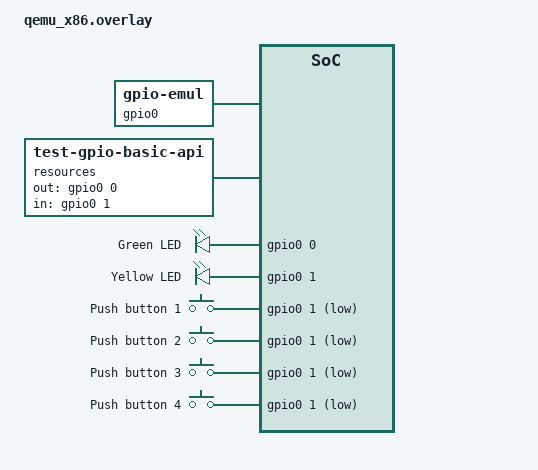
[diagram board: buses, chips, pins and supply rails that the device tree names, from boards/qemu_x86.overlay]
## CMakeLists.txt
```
cmake_minimum_required(VERSION 3.20.0)
find_package(Zephyr REQUIRED HINTS $ENV{ZEPHYR_BASE})

set(CMAKE_EXPORT_COMPILE_COMMANDS ON)

project(
  hello_bme280
  VERSION 0.1
  DESCRIPTION "Hello world with the BME280 Sensor"
  LANGUAGES C CXX)

target_sources(app PRIVATE src/main.cpp)
```

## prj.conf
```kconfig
# C++ Support
CONFIG_CPP=y
CONFIG_REQUIRES_FULL_LIBCPP=y
CONFIG_STD_CPP17=y

# ZPP
CONFIG_USE_ZPP_LIB=y

# Logging
CONFIG_LOG=y

# Kernel Logging
#CONFIG_KERNEL_LOG_LEVEL_DBG=y

# ZPP Logging
CONFIG_ZPP_RTOS_LOG_LEVEL_DBG=y
CONFIG_ZPP_DRIVERS_LOG_LEVEL_DBG=y

CONFIG_APP_LOG_LEVEL_DBG=y
CONFIG_I2C=y
CONFIG_SENSOR=y
CONFIG_BME280=y
CONFIG_CBPRINTF_FP_SUPPORT=y
```

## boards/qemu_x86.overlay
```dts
#include <zephyr/dt-bindings/gpio/gpio.h>

/ {  
    gpio0: gpio_emul_0 {
        status = "okay";
        compatible = "zephyr,gpio-emul";
        rising-edge;
        falling-edge;
        high-level;
        low-level;
        gpio-controller;
        ngpios=<2>;
        #gpio-cells = <2>;
    };

    resources {
        compatible = "test-gpio-basic-api";
        out-gpios = <&gpio0 0 0>; /* Pin 0 */
        in-gpios = <&gpio0 1 0>; /* Pin 1 */
    };

    leds {
        compatible = "gpio-leds";
        led0: led_0 {
            gpios = <&gpio0 0 GPIO_ACTIVE_HIGH>;
            label = "Green LED";
        };
        led1: led_1 {
            gpios = <&gpio0 1 GPIO_ACTIVE_HIGH>;
            label = "Yellow LED";
        };
    };

    buttons {
        compatible = "gpio-keys";

        button0: button_0 {
            gpios = <&gpio0 1 (GPIO_PULL_UP | GPIO_ACTIVE_LOW)>;
            label = "Push button 1";
        };

        button1: button_1 {
            gpios = <&gpio0 1 (GPIO_PULL_UP | GPIO_ACTIVE_LOW)>;
            label = "Push button 2";
        };

        button2: button_2 {
            gpios = <&gpio0 1 (GPIO_PULL_UP | GPIO_ACTIVE_LOW)>;
            label = "Push button 3";
        };

        button3: button_3 {
            gpios = <&gpio0 1 (GPIO_PULL_UP | GPIO_ACTIVE_LOW)>;
            label = "Push button 4";
        };
    };

    aliases {
        led0 = &led0;
        led1 = &led1;
        sw0 = &button0;
        sw1 = &button1;
        sw2 = &button2;
        sw3 = &button3;
    };

    chosen {
        zephyr,display = &dummy_dc;
    };

    dummy_dc: dummy_dc {
        compatible = "zephyr,dummy-dc";
        height = <240>;
        width = <320>;
    };
};
```

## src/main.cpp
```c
// stl
#include <chrono>

// zpp-lib
#include "zpp_include/thread.hpp"
#include "zpp_include/this_thread.hpp"
#include "zpp_include/digital_out.hpp"

// zephyr
#include <zephyr/logging/log.h>
#include <zephyr/drivers/sensor.h>

LOG_MODULE_REGISTER(sensor_bm280, CONFIG_APP_LOG_LEVEL);

#define BME280_NODE DT_INST(0, bosch_bme280)

void read_sensor()
{
	const struct device *sensor_device = DEVICE_DT_GET(DT_INST(0, bosch_bme280));
	using namespace std::literals;
	static std::chrono::milliseconds readInterval = 1000ms;

	if (!device_is_ready(sensor_device)) {
		LOG_ERR("Device %s not found", sensor_device->name);
		return;
	}

	struct sensor_value temperature_sv, humidity_sv, pressure_sv;

	while (true) {
		sensor_sample_fetch(sensor_device);

		sensor_channel_get(sensor_device, SENSOR_CHAN_AMBIENT_TEMP, &temperature_sv);
		sensor_channel_get(sensor_device, SENSOR_CHAN_HUMIDITY, &humidity_sv);
		sensor_channel_get(sensor_device, SENSOR_CHAN_PRESS, &pressure_sv);

		LOG_INF("T=%.2f [deg C] P=%.2f [kPa] H=%.1f [%%]", sensor_value_to_double(&temperature_sv),
			sensor_value_to_double(&pressure_sv), sensor_value_to_double(&humidity_sv));

		zpp_lib::ThisThread::sleep_for(readInterval);
	}
}

int main(void)
{
	LOG_DBG("Running on board %s", CONFIG_BOARD_TARGET);

	zpp_lib::Thread thread(zpp_lib::PreemptableThreadPriority::PriorityNormal, "Blinky");
	auto res = thread.start(read_sensor);
	if (!res) {
		return -1;
	}

	res = thread.join();
	if (!res) {
		LOG_ERR("Could not join thread: %d", (int)res.error());
		return -1;
	}

	return 0;
}
```
